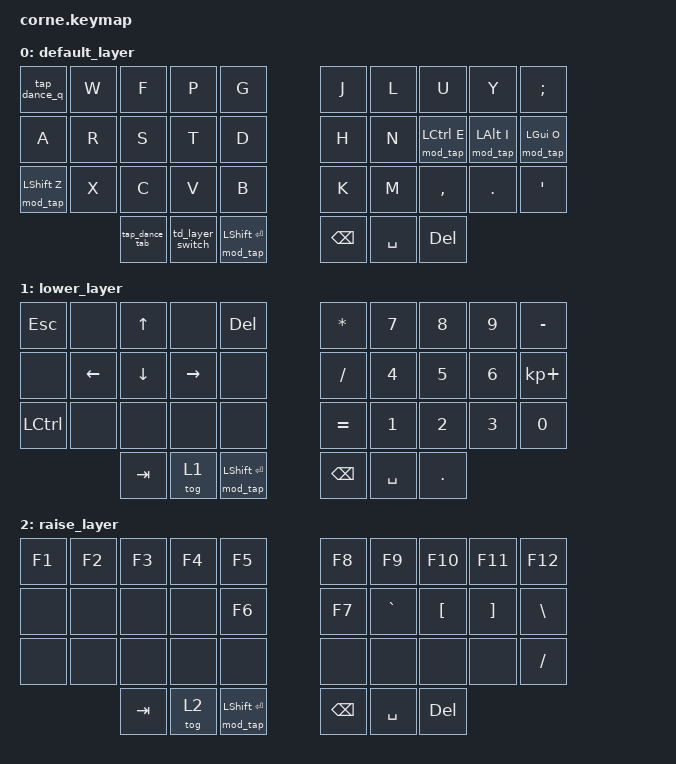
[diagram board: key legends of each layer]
/*
 * Copyright (c) 2020 The ZMK Contributors
 *
 * SPDX-License-Identifier: MIT
 */

#include <behaviors.dtsi>
#include <dt-bindings/zmk/keys.h>
#include <dt-bindings/zmk/bt.h>


#define AS(keycode) &as LS(keycode) keycode

/ {
    chosen {
        zmk,physical-layout = &foostan_corne_5col_layout;
    };

    behaviors {
        tap_dance_q: tap_dance_q {
            compatible = "zmk,behavior-tap-dance";
            #binding-cells = <0>;
            bindings = <&kp Q>, <&kp ESC>;
            tapping-term-ms = <200>;
        };

        tap_dance_tab: tap_dance_tab {
            compatible = "zmk,behavior-tap-dance";
            #binding-cells = <0>;
            bindings = <&kp TAB>, <&kp CAPS>;
            tapping-term-ms = <200>;
        };

        td_layer_switch: tap_dance_layer_switch {
            compatible = "zmk,behavior-tap-dance";
            #binding-cells = <0>;
            tapping-term-ms = <200>;
            bindings = <&tog 1>, <&tog 2>;
        };

        // Mod-tap behavior (used for modifier/alpha and shift/enter)
        mod_tap: mod_tap {
            compatible = "zmk,behavior-hold-tap";
            #binding-cells = <2>;
            flavor = "tap-preferred";
            tapping-term-ms = <250>;
            quick-tap-ms = <150>;
        };
    };
        keymap {
                compatible = "zmk,keymap";

                default_layer {
            // -----------------------------------------------------------------------------------------
            // | Q/ESC |  W  |  F  |  P  |  G  |     |  J  |  L  |   U   |   Y   |   ;   |
            // |  A    |  R  |  S  |  T  |  D  |     |  H  |  N  | E/LCTRL|I/LALT |O/LGUI |
            // |Z/SHFT |  X  |  C  |  V  |  B  |     |  K  |  M  |   ,   |   .   |   '   |
            //               |TAB/CAPS | Num/Fn | ENT/SHFT |    | BSPC | SPACE | DEL |

            bindings = <
                &tap_dance_q &kp W &kp F &kp P &kp G           &kp J &kp L &kp U &kp Y &kp SEMI
                &kp A &kp R &kp S &kp T &kp D                   &kp H &kp N &mod_tap LCTRL E &mod_tap LALT I &mod_tap LGUI O
                &mod_tap LSHIFT Z &kp X &kp C &kp V &kp B           &kp K &kp M &kp COMMA &kp DOT &kp APOS
                &tap_dance_tab &td_layer_switch &mod_tap LSHIFT ENTER &kp BSPC &kp SPACE &kp DEL
            >;
        };

        lower_layer {
            // -----------------------------------------------------------------------------------------
            // | ESC  |      |  UP  |      | DEL  |     |  *  |  7  |  8  |  9  |  -  |
            // |      | LEFT | DOWN | RIGHT |      |     |  /  |  4  |  5  |  6  |  + |
            // | CTRL |      |      |       |      |     |  =  |  1  |  2  |  3  |  0  |
            //                 | TAB | DEF | ENT/SHFT |     | BSPC | SPACE |  .  |

            bindings = <
                &kp ESC &none &kp UP &none &kp DEL       &kp STAR &kp N7 &kp N8 &kp N9 &kp MINUS
                &none   &kp LEFT &kp DOWN &kp RIGHT &none  &kp FSLH &kp N4 &kp N5 &kp N6 &kp KP_PLUS
                &kp LCTRL &none &none &none &none         &kp EQUAL &kp N1 &kp N2 &kp N3 &kp N0
                      &kp TAB &tog 1 &mod_tap LSHIFT ENTER &kp BSPC &kp SPACE &kp DOT
            >;
        };

        raise_layer {
            // -----------------------------------------------------------------------------------------
            // | F1  | F2  | F3  | F4  | F5  |     | F8  | F9   | F10  | F11  | F12  |
            // |     |     |     |     | F6  |     | F7  |  `   |  [   |  ]   |  \   |
            // |     |     |     |     |     |     |     |      |      |      |  /   |
            //             | TAB | DEF | ENT/SHFT |    | BSPC | SPACE | DEL |

            bindings = <
                &kp F1 &kp F2 &kp F3 &kp F4 &kp F5       &kp F8 &kp F9 &kp F10 &kp F11 &kp F12
                &none  &none &none &none &kp F6          &kp F7 &kp GRAVE &kp LBKT &kp RBKT &kp BSLH
                &none  &none &none &none &none           &none  &none &none &none &kp FSLH
                      &kp TAB &tog 2 &mod_tap LSHIFT ENTER &kp BSPC &kp SPACE &kp DEL
            >;
                };

                extra_1 {
                        status = "reserved";
                };

                extra_2 {
                        status = "reserved";
                };

                extra_3 {
                        status = "reserved";
                };
        };
};
